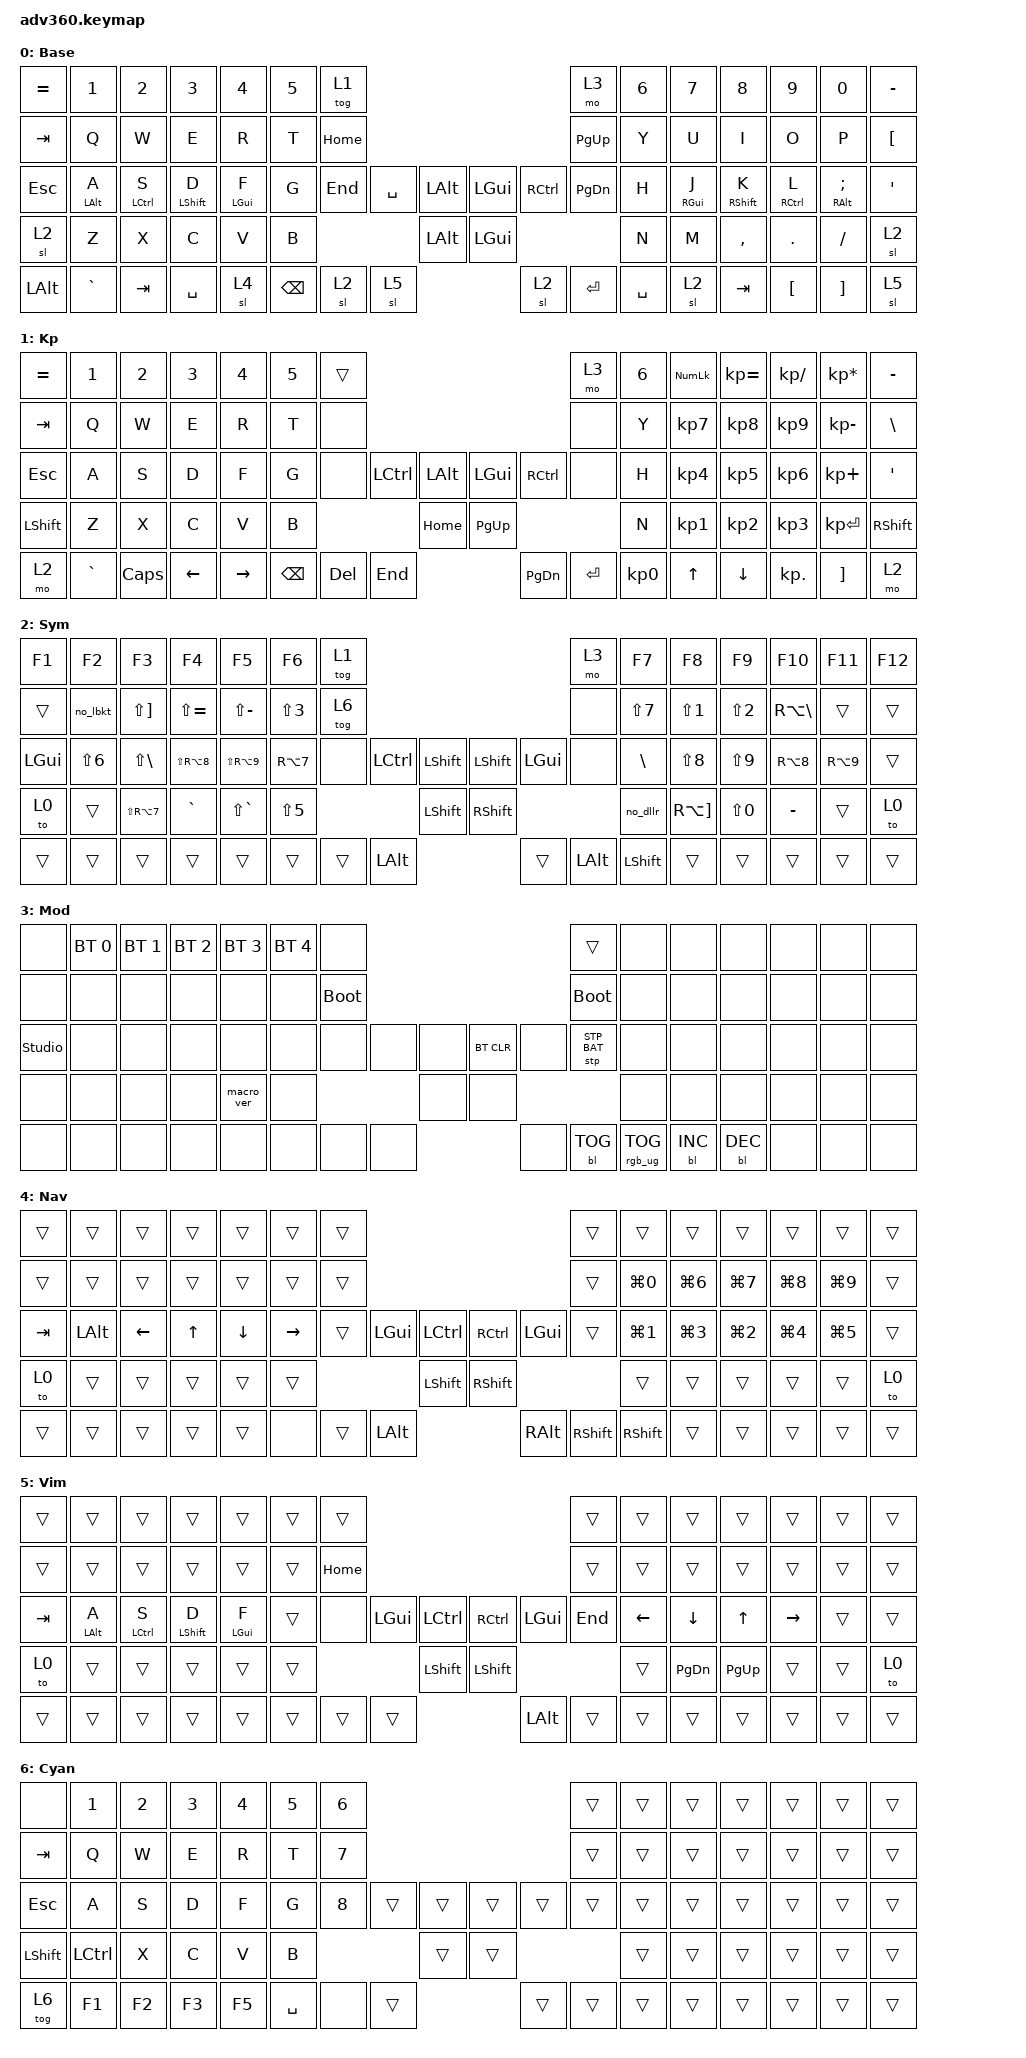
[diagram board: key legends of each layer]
#include <behaviors.dtsi>
#include <dt-bindings/zmk/keys.h>
#include <dt-bindings/zmk/bt.h>
#include <dt-bindings/zmk/rgb.h>
#include <dt-bindings/zmk/stp.h>
#include <dt-bindings/zmk/backlight.h>
#include <dt-bindings/zmk/pointing.h>

/ {
    behaviors {
      #include "macros.dtsi"
      #include "version.dtsi"

      hm: homerow_mods {
          compatible = "zmk,behavior-hold-tap";
          label = "HOMEROW_MODS";
          #binding-cells = <2>;
          tapping-term-ms = <200>;
          quick_tap_ms = <175>;
          flavor = "tap-preferred";
          bindings = <&kp>, <&kp>;
      };

      // Left-hand home row mods (timeless configuration)
      hml: homerow_mods_left {
          compatible = "zmk,behavior-hold-tap";
          label = "HOMEROW_MODS_LEFT";
          #binding-cells = <2>;
          flavor = "balanced";
          tapping-term-ms = <200>;
          quick-tap-ms = <150>;
          require-prior-idle-ms = <100>;
          bindings = <&kp>, <&kp>;
          hold-trigger-key-positions = <7 8 9 10 11 12 13 21 22 23 24 25 26 27 36 37 38 39 40 41 49 50 51 52 53 54 55 64 65 66 67 68 69 70 71>;
          hold-trigger-on-release;
      };

      // Right-hand home row mods (timeless configuration)
      hmr: homerow_mods_right {
          compatible = "zmk,behavior-hold-tap";
          label = "HOMEROW_MODS_RIGHT";
          #binding-cells = <2>;
          flavor = "balanced";
          tapping-term-ms = <200>;
          quick-tap-ms = <150>;
          require-prior-idle-ms = <100>;
          bindings = <&kp>, <&kp>;
          hold-trigger-key-positions = <0 1 2 3 4 5 6 14 15 16 17 18 19 20 28 29 30 31 32 33 34 35 42 43 44 45 46 47 48 56 57 58 59 60 61 62 63>;
          hold-trigger-on-release;
      };
    };

  keymap {
    compatible = "zmk,keymap";

    default_layer {
      display-name = "Base";
      bindings = <
        &kp EQUAL &kp N1    &kp N2   &kp N3   &kp N4           &kp N5 &tog 1                                                                    &mo 3     &kp N6 &kp N7          &kp N8          &kp N9          &kp N0             &kp MINUS
        &kp TAB   &kp Q     &kp W    &kp E    &kp R            &kp T  &kp HOME                                                                  &kp PG_UP &kp Y  &kp U           &kp I           &kp O           &kp P              &kp LBKT
        &kp ESC   &hml LALT A &hml LCTRL S &hml LSHFT D &hml LGUI F &kp G  &kp END    &kp SPACE &kp LALT &kp LGUI  &kp RCTRL                     &kp PG_DN &kp H  &hmr RGUI J     &hmr RSHFT K    &hmr RCTRL L    &hmr RALT SEMI     &kp SQT
        &sl 2     &kp Z     &kp X    &kp C    &kp V            &kp B                            &kp LALT &kp LGUI                                         &kp N  &kp M           &kp COMMA       &kp DOT         &kp FSLH           &sl 2
        &kp LALT  &kp GRAVE &kp TAB  &kp SPACE    &sl 4                          &kp BSPC &sl 2     &sl 5    &sl 2     &kp ENTER &kp SPACE                           &sl 2          &kp TAB         &kp LBKT        &kp RBKT           &sl 5
      >;
    };
    keypad {
      display-name = "Kp";
      bindings = <
        &kp EQUAL &kp N1    &kp N2   &kp N3   &kp N4     &kp N5 &trans                                                           &mo 3 &kp N6 &kp KP_NUM &kp KP_EQUAL &kp KP_DIVIDE &kp KP_MULTIPLY &kp MINUS
        &kp TAB   &kp Q     &kp W    &kp E    &kp R      &kp T  &none                                                            &none &kp Y  &kp KP_N7  &kp KP_N8    &kp KP_N9     &kp KP_MINUS    &kp BSLH
        &kp ESC   &kp A     &kp S    &kp D    &kp F      &kp G  &none           &kp LCTRL &kp LALT &kp LGUI  &kp RCTRL           &none &kp H  &kp KP_N4  &kp KP_N5    &kp KP_N6     &kp KP_PLUS     &kp SQT
        &kp LSHFT &kp Z     &kp X    &kp C    &kp V      &kp B                            &kp HOME &kp PG_UP                           &kp N  &kp KP_N1  &kp KP_N2    &kp KP_N3     &kp KP_ENTER    &kp RSHFT
        &mo 2     &kp GRAVE &kp CAPS &kp LEFT &kp RIGHT                &kp BSPC &kp DEL   &kp END  &kp PG_DN &kp ENTER &kp KP_N0              &kp UP     &kp DOWN     &kp KP_DOT    &kp RBKT        &mo 2
      >;
    };
    fn {
      display-name = "Sym";
      bindings = <
        &kp F1    &kp F2    &kp F3     &kp F4     &kp F5       &kp F6 &tog 1                                                              &mo 3     &kp F7    &kp F8     &kp F9    &kp F10      &kp F11         &kp F12
        &trans    &no_lbkt  &kp LS(RBKT) &kp LS(EQUAL) &kp LS(MINUS) &kp LS(N3) &tog 6                                                      &none     &kp LS(N7) &kp LS(N1) &kp LS(N2)    &kp RA(BSLH)     &trans          &trans
        &kp LGUI  &kp LS(N6) &kp LS(BSLH) &kp LS(RA(N8)) &kp LS(RA(N9))  &kp RA(N7) &none    &kp LCTRL &kp LSHFT &kp LSHFT &kp LGUI               &none    &kp BSLH   &kp LS(N8) &kp LS(N9) &kp RA(N8)  &kp RA(N9)      &trans
        &to 0     &trans    &kp LS(RA(N7))     &kp GRAVE   &kp LS(GRAVE)    &kp LS(N5)                      &kp LSHFT &kp RSHFT                                  &no_dllr  &kp RA(RBKT)   &kp LS(N0) &kp MINUS   &trans          &to 0
        &trans    &trans    &trans     &trans     &trans                      &trans &trans    &kp LALT  &trans    &kp LALT  &kp LSHFT                        &trans   &trans     &trans      &trans          &trans
      >;
    };
    mod {
      display-name = "Mod";
      bindings = <
        &none &bt BT_SEL 0 &bt BT_SEL 1 &bt BT_SEL 2 &bt BT_SEL 3 &bt BT_SEL 4 &none                                                                     &trans                 &none        &none        &none        &none &none &none
        &none &none        &none        &none        &none        &none        &bootloader                                                               &bootloader            &none        &none        &none        &none &none &none
        &studio_unlock &none        &none        &none        &none        &none        &none                   &none &none &bt BT_CLR &none                      &stp STP_BAT &none        &none        &none        &none &none &none
        &none &none        &none        &none        &macro_ver   &none                                      &none &none                                                        &none        &none        &none        &none &none &none
        &none &none        &none        &none        &none                                       &none &none &none &none      &bl BL_TOG &rgb_ug RGB_TOG                                     &bl BL_INC   &bl BL_DEC   &none &none &none
      >;
    };
    fn2 { 
      display-name = "Nav";    
      bindings = <
        &trans    &trans    &trans   &trans   &trans     &trans &trans                                                                  &trans    &trans       &trans      &trans      &trans       &trans          &trans
        &trans    &trans    &trans   &trans   &trans     &trans &trans                                                                  &trans    &kp LG(N0)   &kp LG(N6)  &kp LG(N7)  &kp LG(N8)   &kp LG(N9)      &trans
        &kp TAB   &kp LALT  &kp LEFT &kp UP   &kp DOWN   &kp RIGHT &trans  &kp LGUI  &kp LCTRL &kp RCTRL &kp LGUI                        &trans    &kp LG(N1)   &kp LG(N3)  &kp LG(N2)  &kp LG(N4)   &kp LG(N5)      &trans
        &to 0     &trans    &trans   &trans   &trans     &trans                      &kp LSHFT &kp RSHFT                                          &trans       &trans      &trans      &trans       &trans          &to 0
        &trans    &trans    &trans   &trans   &trans                      &none     &trans    &kp LALT  &kp RALT  &kp RSHFT &kp RSHFT                          &trans      &trans      &trans       &trans          &trans
      >;
    };

    fn3 { 
      display-name = "Vim";    
      bindings = <
        &trans    &trans    &trans   &trans   &trans       &trans &trans                                                                    &trans    &trans     &trans     &trans     &trans       &trans          &trans
        &trans    &trans    &trans   &trans   &trans       &trans &kp HOME                                                                  &trans    &trans     &trans     &trans     &trans       &trans          &trans
        &kp TAB   &hml LALT A &hml LCTRL S &hml LSHFT D &hml LGUI F &trans &none  &kp LGUI  &kp LCTRL &kp RCTRL &kp LGUI                           &kp END   &kp LEFT   &kp DOWN   &kp UP     &kp RIGHT    &trans          &trans
        &to 0     &trans    &trans   &trans   &trans       &trans                    &kp LSHFT &kp LSHFT                                              &trans     &kp PG_DN  &kp PG_UP  &trans       &trans          &to 0
        &trans    &trans    &trans   &trans   &trans                      &trans    &trans    &trans    &kp LALT  &trans    &trans                              &trans     &trans     &trans       &trans          &trans
      >;
    };

    game {
      display-name = "Cyan";
      bindings = <
        &none     &kp N1    &kp N2   &kp N3   &kp N4       &kp N5 &kp N6                                                                    &trans    &trans     &trans     &trans     &trans       &trans          &trans
        &kp TAB   &kp Q     &kp W    &kp E    &kp R        &kp T  &kp N7                                                                    &trans    &trans     &trans     &trans     &trans       &trans          &trans
        &kp ESC   &kp A     &kp S    &kp D    &kp F        &kp G  &kp N8        &trans    &trans    &trans    &trans                       &trans    &trans     &trans     &trans     &trans       &trans          &trans
        &kp LSHFT &kp LCTRL &kp X    &kp C    &kp V        &kp B                            &trans    &trans                                           &trans     &trans     &trans     &trans       &trans          &trans
        &tog 6    &kp F1    &kp F2   &kp F3   &kp F5                      &kp SPACE &none    &trans    &trans    &trans    &trans                       &trans     &trans     &trans       &trans          &trans
      >;
    };

    extra4 { 
      display-name = "Yellow";    
      status = "reserved";
    };
  };
};
